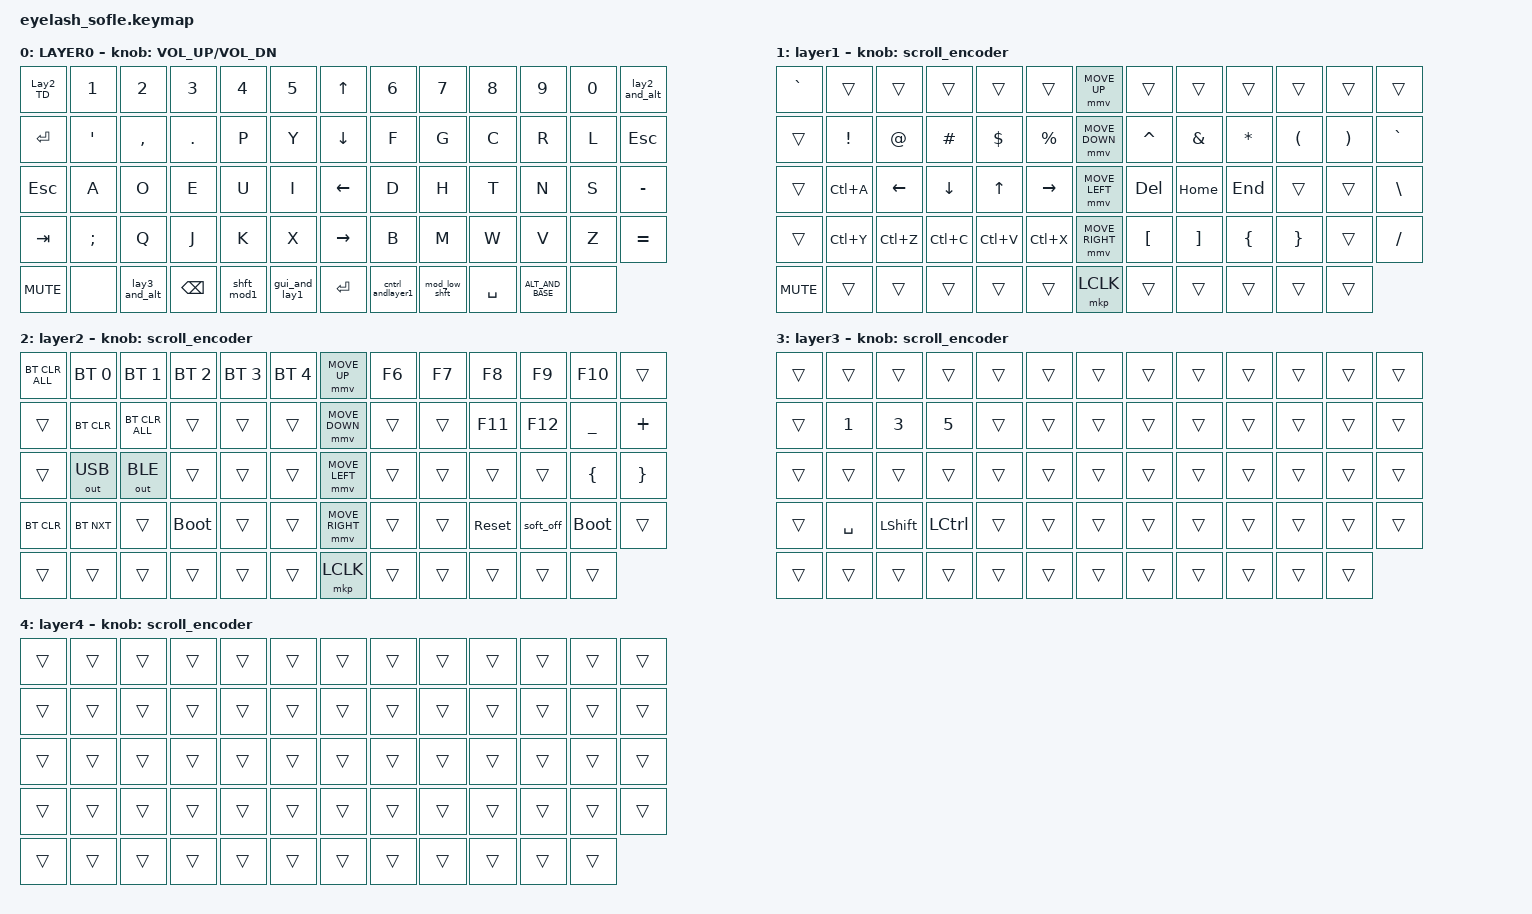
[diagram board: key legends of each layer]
#define ZMK_POINTING_DEFAULT_MOVE_VAL 1200  // 600
#define ZMK_POINTING_DEFAULT_SCRL_VAL 25   // 10

#include <input/processors.dtsi>
#include <zephyr/dt-bindings/input/input-event-codes.h>
#include <behaviors.dtsi>
#include <dt-bindings/zmk/bt.h>
#include <dt-bindings/zmk/keys.h>
#include <dt-bindings/zmk/outputs.h>
#include <dt-bindings/zmk/pointing.h>

&mmv_input_listener { input-processors = <&zip_xy_scaler 2 1>; };

&msc_input_listener { input-processors = <&zip_scroll_scaler 2 1>; };

&msc {
    acceleration-exponent = <1>;      // 0
    time-to-max-speed-ms = <100>;       // 300
    delay-ms = <0>;                   // 0
};

&mmv {
    time-to-max-speed-ms = <500>;
    acceleration-exponent = <1>;
    trigger-period-ms = <16>;
};

&soft_off { hold-time-ms = <2000>; };

/ {
    scroll_encoder: scroll_encoder {
        compatible = "zmk,behavior-sensor-rotate";
        #sensor-binding-cells = <0>;
        bindings = <&msc SCRL_DOWN>, <&msc SCRL_UP>;

        tap-ms = <100>;
    };

    gui_and_lay1: gui_and_lay1 {
        compatible = "zmk,behavior-tap-dance";
        label = "GUI_AND_LAY1";
        #binding-cells = <0>;
        bindings = <&mac_gui_lay1>, <&kp LEFT_GUI>, <&mac_gui_shift_lay1>;

        tapping-term-ms = <250>;
    };

    shft_mod1: shft_mod1 {
        compatible = "zmk,behavior-tap-dance";
        label = "SHFT_MOD1";
        #binding-cells = <0>;
        bindings = <&kp LEFT_SHIFT>, <&mo 1>, <&mac_shft_lay1>;
    };

    cntrl_andlayer1: cntrl_andlayer1 {
        compatible = "zmk,behavior-tap-dance";
        label = "CNTRL_ANDLAYER1";
        #binding-cells = <0>;
        bindings =
            <&kp LEFT_CONTROL>,
            <&mac_cntrl_lay1>,
            <&mac_cntrl_shft_lay11>;

        tapping-term-ms = <275>;
    };

    mod_low_shft: mod_low_shft {
        compatible = "zmk,behavior-tap-dance";
        label = "MOD_LOW_SHFT";
        #binding-cells = <0>;
        bindings = <&mo 1>, <&kp LEFT_SHIFT>, <&mac_shft_lay1>;

        tapping-term-ms = <230>;
    };

    lay2_and_alt: lay2_and_alt {
        compatible = "zmk,behavior-tap-dance";
        label = "LAY2_AND_ALT";
        #binding-cells = <0>;
        bindings = <&mo 2>, <&kp LEFT_ALT>, <&kp LS(LEFT_ALT)>;

        tapping-term-ms = <230>;
    };

    Layer_3_TD: Layer_3_TD {
        compatible = "zmk,behavior-tap-dance";
        label = "LAYER_3_TD";
        #binding-cells = <0>;
        bindings = <&mo 3>, <&mo 2>, <&tog 3>;

        tapping-term-ms = <250>;
    };

    ALT_AND_BASE: ALT_AND_BASE {
        compatible = "zmk,behavior-tap-dance";
        label = "ALT_AND_BASE";
        #binding-cells = <0>;
        bindings = <&none>, <&kp LEFT_ALT>, <&tog 0>;

        tapping-term-ms = <250>;
    };

    lay3_and_alt: lay3_and_alt {
        compatible = "zmk,behavior-tap-dance";
        label = "LAY3_AND_ALT";
        #binding-cells = <0>;
        bindings = <&mo 3>, <&kp LEFT_ALT>, <&kp LS(LEFT_CONTROL)>;

        tapping-term-ms = <230>;
    };

    Lay2_TD: Lay2_TD {
        compatible = "zmk,behavior-tap-dance";
        label = "LAY2_TD";
        #binding-cells = <0>;
        bindings = <&mo 2>, <&mo 3>, <&tog 3>;

        tapping-term-ms = <250>;
    };

    behaviors {
    };

    combos {
        compatible = "zmk,combos";

        softoff {
            bindings = <&soft_off>;
            key-positions = <14 28 40>;
        };
    };

    macros {
        mac_gui_lay1: mac_gui_lay1 {
            compatible = "zmk,behavior-macro";
            #binding-cells = <0>;
            bindings =
                <&macro_press>,
                <&mo 1>,
                <&macro_press>,
                <&kp LEFT_GUI>,
                <&macro_pause_for_release>,
                <&macro_release>,
                <&kp LEFT_GUI>,
                <&macro_release>,
                <&mo 1>;

            label = "MAC_GUI_LAY1";
        };

        mac_shft_lay1: mac_shft_lay1 {
            compatible = "zmk,behavior-macro";
            #binding-cells = <0>;
            bindings =
                <&macro_press>,
                <&mo 1>,
                <&macro_press>,
                <&kp LEFT_SHIFT>,
                <&macro_pause_for_release>,
                <&macro_release>,
                <&kp LEFT_SHIFT>,
                <&macro_release>,
                <&mo 1>;

            label = "MAC_SHFT_LAY1";
        };

        mac_cntrl_shft_lay1: mac_cntrl_shift_lay1 {
            compatible = "zmk,behavior-macro";
            #binding-cells = <0>;
            bindings =
                <&macro_press>,
                <&mo 1>,
                <&macro_press>,
                <&kp LS(LEFT_CONTROL)>,
                <&macro_pause_for_release>,
                <&macro_release>,
                <&kp LS(LEFT_CONTROL)>,
                <&macro_release>,
                <&mo 1>;

            label = "MAC_CNTRL_SHIFT_LAY1";
        };

        mac_gui_shift_lay1: mac_gui_shift_lay1 {
            compatible = "zmk,behavior-macro";
            #binding-cells = <0>;
            bindings =
                <&macro_press>,
                <&mo 1>,
                <&macro_press>,
                <&kp LS(LEFT_GUI)>,
                <&macro_pause_for_release>,
                <&macro_release>,
                <&kp LS(LEFT_GUI)>,
                <&macro_release>,
                <&mo 1>;

            label = "MAC_GUI_SHIFT_LAY1";
        };

        mac_alt_lay1: mac_alt_lay1 {
            compatible = "zmk,behavior-macro";
            #binding-cells = <0>;
            bindings =
                <&macro_press>,
                <&mo 1>,
                <&macro_press>,
                <&kp LEFT_ALT>,
                <&macro_pause_for_release>,
                <&macro_release>,
                <&kp LEFT_ALT>,
                <&macro_release>,
                <&mo 1>;

            label = "MAC_ALT_LAY1";
        };

        mac_cntrl_lay1: mac_cntrl_lay1 {
            compatible = "zmk,behavior-macro";
            #binding-cells = <0>;
            bindings =
                <&macro_press>,
                <&mo 1>,
                <&macro_press>,
                <&kp LEFT_CONTROL>,
                <&macro_pause_for_release>,
                <&macro_release>,
                <&kp LEFT_CONTROL>,
                <&macro_release>,
                <&mo 1>;

            label = "MAC_CNTRL_LAY1";
        };

        mac_cntrl_shft_lay11: mac_cntrl_shft_lay11 {
            compatible = "zmk,behavior-macro";
            #binding-cells = <0>;
            bindings =
                <&macro_press>,
                <&mo 1>,
                <&macro_press>,
                <&kp LS(LEFT_CONTROL)>,
                <&macro_pause_for_release>,
                <&macro_release>,
                <&kp LS(LEFT_CONTROL)>,
                <&macro_release>,
                <&mo 1>;

            label = "MAC_CNTRL_SHFT_LAY11";
        };

        mac_shft_lay11: mac_shft_lay11 {
            compatible = "zmk,behavior-macro";
            #binding-cells = <0>;
            bindings =
                <&macro_press>,
                <&mo 1>,
                <&macro_press>,
                <&kp LEFT_SHIFT>,
                <&macro_pause_for_release>,
                <&macro_release>,
                <&kp LEFT_SHIFT>,
                <&macro_release>,
                <&mo 1>;

            label = "MAC_SHFT_LAY11";
        };
    };

    keymap {
        compatible = "zmk,keymap";

        layer0 {
            bindings = <
&Lay2_TD    &kp N1         &kp N2         &kp N3         &kp N4      &kp N5           &kp UP_ARROW     &kp N6            &kp N7         &kp N8     &kp N9         &kp N0  &lay2_and_alt
&kp ENTER   &kp SQT        &kp COMMA      &kp PERIOD     &kp P       &kp Y            &kp DOWN_ARROW   &kp F             &kp G          &kp C      &kp R          &kp L   &kp ESCAPE
&kp ESCAPE  &kp A          &kp O          &kp E          &kp U       &kp I            &kp LEFT_ARROW   &kp D             &kp H          &kp T      &kp N          &kp S   &kp MINUS
&kp TAB     &kp SEMICOLON  &kp Q          &kp J          &kp K       &kp X            &kp RIGHT_ARROW  &kp B             &kp M          &kp W      &kp V          &kp Z   &kp EQUAL
&kp C_MUTE  &none          &lay3_and_alt  &kp BACKSPACE  &shft_mod1  &gui_and_lay1    &kp ENTER        &cntrl_andlayer1  &mod_low_shft  &kp SPACE  &ALT_AND_BASE  &none
            >;

            sensor-bindings = <&inc_dec_kp C_VOLUME_UP C_VOL_DN>;
            display-name = "LAYER0";
        };

        layer_1 {
            bindings = <
&kp GRAVE   &trans           &trans          &trans          &trans        &trans         &mmv MOVE_UP     &trans            &trans             &trans          &trans                &trans                 &trans
&trans      &kp EXCLAMATION  &kp AT_SIGN     &kp POUND       &kp DOLLAR    &kp PERCENT    &mmv MOVE_DOWN   &kp CARET         &kp AMPERSAND      &kp ASTERISK    &kp LEFT_PARENTHESIS  &kp RIGHT_PARENTHESIS  &kp GRAVE
&trans      &kp LC(A)        &kp LEFT_ARROW  &kp DOWN_ARROW  &kp UP_ARROW  &kp RIGHT      &mmv MOVE_LEFT   &kp DELETE        &kp HOME           &kp END         &trans                &trans                 &kp BACKSLASH
&trans      &kp LC(Y)        &kp LC(Z)       &kp LC(C)       &kp LC(V)     &kp LC(X)      &mmv MOVE_RIGHT  &kp LEFT_BRACKET  &kp RIGHT_BRACKET  &kp LEFT_BRACE  &kp RIGHT_BRACE       &trans                 &kp SLASH
&kp C_MUTE  &trans           &trans          &trans          &trans        &trans         &mkp LCLK        &trans            &trans             &trans          &trans                &trans
            >;

            display-name = "layer1";
            sensor-bindings = <&scroll_encoder>;
        };

        layer_2 {
            bindings = <
&bt BT_CLR_ALL  &bt BT_SEL 0  &bt BT_SEL 1    &bt BT_SEL 2  &bt BT_SEL 3  &bt BT_SEL 4    &mmv MOVE_UP     &kp F6  &kp F7  &kp F8      &kp F9     &kp F10      &trans
&trans          &bt BT_CLR    &bt BT_CLR_ALL  &trans        &trans        &trans          &mmv MOVE_DOWN   &trans  &trans  &kp F11     &kp F12    &kp UNDER    &kp PLUS
&trans          &out OUT_USB  &out OUT_BLE    &trans        &trans        &trans          &mmv MOVE_LEFT   &trans  &trans  &trans      &trans     &kp LBRC     &kp RBRC
&bt BT_CLR      &bt BT_NXT    &trans          &bootloader   &trans        &trans          &mmv MOVE_RIGHT  &trans  &trans  &sys_reset  &soft_off  &bootloader  &trans
&trans          &trans        &trans          &trans        &trans        &trans          &mkp LCLK        &trans  &trans  &trans      &trans     &trans
            >;

            display-name = "layer2";
            sensor-bindings = <&scroll_encoder>;
        };

        layer_3 {
            bindings = <
&trans  &trans     &trans     &trans     &trans  &trans    &trans  &trans  &trans  &trans  &trans  &trans  &trans
&trans  &kp N1     &kp N3     &kp N5     &trans  &trans    &trans  &trans  &trans  &trans  &trans  &trans  &trans
&trans  &trans     &trans     &trans     &trans  &trans    &trans  &trans  &trans  &trans  &trans  &trans  &trans
&trans  &kp SPACE  &kp LSHFT  &kp LCTRL  &trans  &trans    &trans  &trans  &trans  &trans  &trans  &trans  &trans
&trans  &trans     &trans     &trans     &trans  &trans    &trans  &trans  &trans  &trans  &trans  &trans
            >;

            display-name = "layer3";
            sensor-bindings = <&scroll_encoder>;
        };

        layer_4 {
            bindings = <
&trans  &trans  &trans  &trans  &trans  &trans    &trans  &trans  &trans  &trans  &trans  &trans  &trans
&trans  &trans  &trans  &trans  &trans  &trans    &trans  &trans  &trans  &trans  &trans  &trans  &trans
&trans  &trans  &trans  &trans  &trans  &trans    &trans  &trans  &trans  &trans  &trans  &trans  &trans
&trans  &trans  &trans  &trans  &trans  &trans    &trans  &trans  &trans  &trans  &trans  &trans  &trans
&trans  &trans  &trans  &trans  &trans  &trans    &trans  &trans  &trans  &trans  &trans  &trans
            >;

            display-name = "layer4";
            sensor-bindings = <&scroll_encoder>;
        };
    };
};
